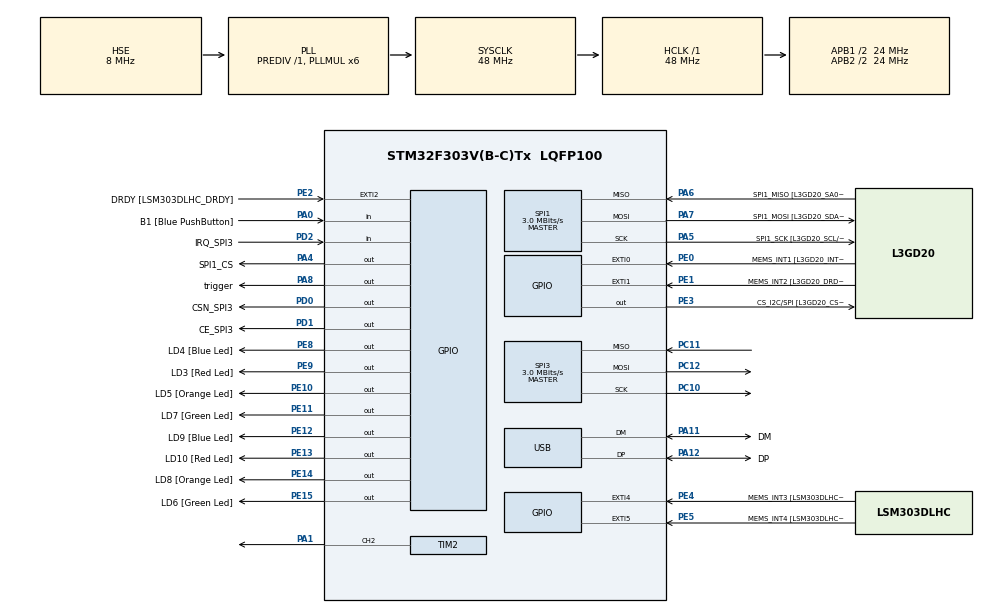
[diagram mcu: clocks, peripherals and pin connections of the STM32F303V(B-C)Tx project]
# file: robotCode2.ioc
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Mcu.Family=STM32F3
Mcu.Name=STM32F303V(B-C)Tx
Mcu.Package=LQFP100
NVIC.PriorityGroup=NVIC_PRIORITYGROUP_0
NVIC.TIM1_UP_TIM16_IRQn=true\:0\:0\:false\:false\:true
NVIC.USB_LP_CAN_RX0_IRQn=true\:0\:0\:false\:false\:true
PA0.GPIO_Label=B1 [Blue PushButton]
PA0.GPIO_Mode=GPIO_MODE_INPUT
PA0.GPIO_PuPd=GPIO_NOPULL
PA0.Signal=GPIO_Input
PA1.Signal=S_TIM2_CH2
PA11.GPIO_Label=DM
PA11.Mode=Device
PA11.Signal=USB_DM
PA12.GPIO_Label=DP
PA12.Mode=Device
PA12.Signal=USB_DP
PA13.GPIO_Label=SWDIO
PA13.Signal=SYS_JTMS-SWDIO
PA14.GPIO_Label=SWCLK
PA14.Signal=SYS_JTCK-SWCLK
PA4.GPIO_Label=SPI1_CS
PA4.PinState=GPIO_PIN_SET
PA4.Signal=GPIO_Output
PA5.GPIO_Label=SPI1_SCK [L3GD20_SCL/SPC]
PA5.GPIO_Mode=GPIO_MODE_AF_PP
PA5.GPIO_PuPd=GPIO_NOPULL
PA5.GPIO_Speed=GPIO_SPEED_FREQ_LOW
PA5.Mode=Full_Duplex_Master
PA5.Signal=SPI1_SCK
PA6.GPIO_Label=SPI1_MISO [L3GD20_SA0/SDO]
PA6.GPIO_Mode=GPIO_MODE_AF_PP
PA6.GPIO_PuPd=GPIO_PULLDOWN
PA6.GPIO_Speed=GPIO_SPEED_FREQ_LOW
PA6.Mode=Full_Duplex_Master
PA6.Signal=SPI1_MISO
PA7.GPIO_Label=SPI1_MOSI [L3GD20_SDA/SDI/SDO]
PA7.GPIO_Mode=GPIO_MODE_AF_PP
PA7.GPIO_PuPd=GPIO_NOPULL
PA7.GPIO_Speed=GPIO_SPEED_FREQ_LOW
PA7.Mode=Full_Duplex_Master
PA7.Signal=SPI1_MOSI
PA8.GPIO_Label=trigger
PA8.Signal=GPIO_Output
PB3.GPIO_Label=SWO
PB3.Signal=SYS_JTDO-TRACESWO
PB6.GPIO_FM6=__NULL
PB6.GPIO_Label=I2C1_SCL [LSM303DLHC_SCL]
PB6.GPIO_Mode=GPIO_MODE_AF_OD
PB6.GPIO_PuPd=GPIO_NOPULL
PB6.GPIO_Speed=GPIO_SPEED_FREQ_LOW
PB6.Signal=I2C1_SCL
PB7.GPIO_FM7=__NULL
PB7.GPIO_Label=I2C1_SDA [LSM303DLHC_SDA]
PB7.GPIO_Mode=GPIO_MODE_AF_OD
PB7.GPIO_PuPd=GPIO_NOPULL
PB7.GPIO_Speed=GPIO_SPEED_FREQ_LOW
PB7.Signal=I2C1_SDA
PC10.Mode=Full_Duplex_Master
PC10.Signal=SPI3_SCK
PC11.Mode=Full_Duplex_Master
PC11.Signal=SPI3_MISO
PC12.Mode=Full_Duplex_Master
PC12.Signal=SPI3_MOSI
PC14-OSC32_IN.GPIO_Label=OSC32_IN
PC14-OSC32_IN.Signal=RCC_OSC32_IN
PC15-OSC32_OUT.GPIO_Label=OSC32_OUT
PC15-OSC32_OUT.Signal=RCC_OSC32_OUT
PD0.GPIO_Label=CSN_SPI3
PD0.Signal=GPIO_Output
PD1.GPIO_Label=CE_SPI3
PD1.Signal=GPIO_Output
PD2.GPIO_Label=IRQ_SPI3
PD2.Signal=GPIO_Input
PE0.GPIO_Label=MEMS_INT1 [L3GD20_INT1]
PE0.GPIO_ModeDefaultEXTI=GPIO_MODE_EVT_RISING
PE0.GPIO_PuPd=GPIO_NOPULL
PE0.Signal=GPXTI0
PE1.GPIO_Label=MEMS_INT2 [L3GD20_DRDY/INT2]
PE1.GPIO_ModeDefaultEXTI=GPIO_MODE_EVT_RISING
PE1.GPIO_PuPd=GPIO_NOPULL
PE1.Signal=GPXTI1
PE10.GPIO_Label=LD5 [Orange Led]
PE10.GPIO_ModeDefaultOutputPP=GPIO_MODE_OUTPUT_PP
PE10.GPIO_PuPd=GPIO_NOPULL
PE10.GPIO_Speed=GPIO_SPEED_FREQ_LOW
PE10.Signal=GPIO_Output
PE11.GPIO_Label=LD7 [Green Led]
PE11.GPIO_ModeDefaultOutputPP=GPIO_MODE_OUTPUT_PP
PE11.GPIO_PuPd=GPIO_NOPULL
PE11.GPIO_Speed=GPIO_SPEED_FREQ_LOW
PE11.Signal=GPIO_Output
PE12.GPIO_Label=LD9 [Blue Led]
PE12.GPIO_ModeDefaultOutputPP=GPIO_MODE_OUTPUT_PP
PE12.GPIO_PuPd=GPIO_NOPULL
PE12.GPIO_Speed=GPIO_SPEED_FREQ_LOW
PE12.Signal=GPIO_Output
PE13.GPIO_Label=LD10 [Red Led]
PE13.GPIO_ModeDefaultOutputPP=GPIO_MODE_OUTPUT_PP
PE13.GPIO_PuPd=GPIO_NOPULL
PE13.GPIO_Speed=GPIO_SPEED_FREQ_LOW
PE13.Signal=GPIO_Output
PE14.GPIO_Label=LD8 [Orange Led]
PE14.GPIO_ModeDefaultOutputPP=GPIO_MODE_OUTPUT_PP
PE14.GPIO_PuPd=GPIO_NOPULL
PE14.GPIO_Speed=GPIO_SPEED_FREQ_LOW
PE14.Signal=GPIO_Output
PE15.GPIO_Label=LD6 [Green Led]
PE15.GPIO_ModeDefaultOutputPP=GPIO_MODE_OUTPUT_PP
PE15.GPIO_PuPd=GPIO_NOPULL
PE15.GPIO_Speed=GPIO_SPEED_FREQ_LOW
PE15.Signal=GPIO_Output
PE2.GPIO_Label=DRDY [LSM303DLHC_DRDY]
PE2.GPIO_ModeDefaultEXTI=GPIO_MODE_EVT_RISING
PE2.GPIO_PuPd=GPIO_NOPULL
PE2.Signal=GPXTI2
PE3.GPIO_Label=CS_I2C/SPI [L3GD20_CS_I2C/SPI]
PE3.GPIO_ModeDefaultOutputPP=GPIO_MODE_OUTPUT_PP
PE3.GPIO_PuPd=GPIO_NOPULL
PE3.GPIO_Speed=GPIO_SPEED_FREQ_LOW
PE3.Signal=GPIO_Output
PE4.GPIO_Label=MEMS_INT3 [LSM303DLHC_INT1]
PE4.GPIO_ModeDefaultEXTI=GPIO_MODE_EVT_RISING
PE4.GPIO_PuPd=GPIO_NOPULL
PE4.Signal=GPXTI4
PE5.GPIO_Label=MEMS_INT4 [LSM303DLHC_INT2]
PE5.GPIO_ModeDefaultEXTI=GPIO_MODE_EVT_RISING
PE5.GPIO_PuPd=GPIO_NOPULL
PE5.Signal=GPXTI5
PE8.GPIO_Label=LD4 [Blue Led]
PE8.GPIO_ModeDefaultOutputPP=GPIO_MODE_OUTPUT_PP
PE8.GPIO_PuPd=GPIO_NOPULL
PE8.GPIO_Speed=GPIO_SPEED_FREQ_LOW
PE8.Signal=GPIO_Output
PE9.GPIO_Label=LD3 [Red Led]
PE9.GPIO_ModeDefaultOutputPP=GPIO_MODE_OUTPUT_PP
PE9.GPIO_PuPd=GPIO_NOPULL
PE9.GPIO_Speed=GPIO_SPEED_FREQ_LOW
PE9.Signal=GPIO_Output
PF0-OSC_IN.GPIO_Label=OSC_IN
PF0-OSC_IN.Mode=HSE-External-Clock-Source
PF0-OSC_IN.Signal=RCC_OSC_IN
PF1-OSC_OUT.GPIO_Label=OSC_OUT
PF1-OSC_OUT.Signal=RCC_OSC_OUT
ProjectManager.HeapSize=0x200
ProjectManager.StackSize=0x400
ProjectManager.TargetToolchain=SW4STM32
RCC.AHBFreq_Value=48000000
RCC.APB1CLKDivider=RCC_HCLK_DIV2
RCC.APB1Freq_Value=24000000
RCC.APB1TimFreq_Value=48000000
RCC.APB2CLKDivider=RCC_HCLK_DIV2
RCC.APB2Freq_Value=24000000
RCC.APB2TimFreq_Value=48000000
RCC.CortexFreq_Value=48000000
RCC.HCLKFreq_Value=48000000
RCC.HSE_VALUE=8000000
RCC.HSIState=RCC_HSI_ON
RCC.HSI_VALUE=8000000
RCC.LSE_VALUE=32768
RCC.PLLMUL=RCC_PLL_MUL6
RCC.SYSCLKFreq_VALUE=48000000
RCC.SYSCLKSourceVirtual=RCC_SYSCLKSOURCE_PLLCLK
RCC.USBFreq_Value=48000000
SH.S_TIM2_CH2.0=TIM2_CH2,PWM Generation2 CH2
SPI1.BaudRatePrescaler=SPI_BAUDRATEPRESCALER_8
SPI1.CalculateBaudRate=3.0 MBits/s
SPI1.DataSize=SPI_DATASIZE_8BIT
SPI1.Mode=SPI_MODE_MASTER
SPI3.BaudRatePrescaler=SPI_BAUDRATEPRESCALER_8
SPI3.CalculateBaudRate=3.0 MBits/s
SPI3.DataSize=SPI_DATASIZE_8BIT
SPI3.Mode=SPI_MODE_MASTER
TIM1.CounterMode=TIM_COUNTERMODE_UP
TIM1.Period=400
TIM1.Prescaler=100
TIM2.Channel-PWM\ Generation2\ CH2=TIM_CHANNEL_2
TIM2.OCMode_PWM-PWM\ Generation2\ CH2=TIM_OCMODE_PWM2
TIM2.Period=1000
TIM2.Prescaler=48
USB_DEVICE.CLASS_NAME_FS=CDC
USB_DEVICE.USBD_HandleTypeDef=hUsbDeviceFS
USB_DEVICE.VirtualMode=Cdc
USB_DEVICE.VirtualModeFS=Cdc_FS
VP_TIM1_VS_ClockSourceINT.Mode=Internal
VP_TIM2_VS_ClockSourceINT.Mode=Internal
VP_USB_DEVICE_VS_USB_DEVICE_CDC_FS.Mode=CDC_FS
board=STM32F3DISCOVERY

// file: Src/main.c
/**
  ******************************************************************************
  * File Name          : main.c
  * Description        : Main program body
  ******************************************************************************
  *
  * Copyright (c) 2017 STMicroelectronics International N.V.
  * All rights reserved.
  *
  * Redistribution and use in source and binary forms, with or without
  * modification, are permitted, provided that the following conditions are met:
  *
  * 1. Redistribution of source code must retain the above copyright notice,
  *    this list of conditions and the following disclaimer.
  * 2. Redistributions in binary form must reproduce the above copyright notice,
  *    this list of conditions and the following disclaimer in the documentation
  *    and/or other materials provided with the distribution.
  * 3. Neither the name of STMicroelectronics nor the names of other
  *    contributors to this software may be used to endorse or promote products
  *    derived from this software without specific written permission.
  * 4. This software, including modifications and/or derivative works of this
  *    software, must execute solely and exclusively on microcontroller or
  *    microprocessor devices manufactured by or for STMicroelectronics.
  * 5. Redistribution and use of this software other than as permitted under
  *    this license is void and will automatically terminate your rights under
  *    this license.
  *
  * THIS SOFTWARE IS PROVIDED BY STMICROELECTRONICS AND CONTRIBUTORS "AS IS"
  * AND ANY EXPRESS, IMPLIED OR STATUTORY WARRANTIES, INCLUDING, BUT NOT
  * LIMITED TO, THE IMPLIED WARRANTIES OF MERCHANTABILITY, FITNESS FOR A
  * PARTICULAR PURPOSE AND NON-INFRINGEMENT OF THIRD PARTY INTELLECTUAL PROPERTY
  * RIGHTS ARE DISCLAIMED TO THE FULLEST EXTENT PERMITTED BY LAW. IN NO EVENT
  * SHALL STMICROELECTRONICS OR CONTRIBUTORS BE LIABLE FOR ANY DIRECT, INDIRECT,
  * INCIDENTAL, SPECIAL, EXEMPLARY, OR CONSEQUENTIAL DAMAGES (INCLUDING, BUT NOT
  * LIMITED TO, PROCUREMENT OF SUBSTITUTE GOODS OR SERVICES; LOSS OF USE, DATA,
  * OR PROFITS; OR BUSINESS INTERRUPTION) HOWEVER CAUSED AND ON ANY THEORY OF
  * LIABILITY, WHETHER IN CONTRACT, STRICT LIABILITY, OR TORT (INCLUDING
  * NEGLIGENCE OR OTHERWISE) ARISING IN ANY WAY OUT OF THE USE OF THIS SOFTWARE,
  * EVEN IF ADVISED OF THE POSSIBILITY OF SUCH DAMAGE.
  *
  ******************************************************************************
  */
#include "main.h"
#include "stm32f3xx_hal.h"
#include "spi.h"
#include "tim.h"
#include "usb_device.h"
#include "gpio.h"

/* USER CODE BEGIN Includes */
#include "TextOut.h"
#include "string.h"
#include "commsfpga.h"
#include "speedcalc.h"

/* USER CODE END Includes */

/* USER CODE BEGIN PV */
/* Private variables ---------------------------------------------------------*/

/* USER CODE END PV */

void SystemClock_Config(void);
void Error_Handler(void);

/* USER CODE BEGIN PFP */
/* Private function prototypes -----------------------------------------------*/
void shoot(uint8_t intensity, SPI_HandleTypeDef* spiHandle, uint8_t freqChannel, uint8_t address);
/* USER CODE END PFP */

int main(void)
{

  /* USER CODE BEGIN 1 */
//
  /* USER CODE END 1 */

  /* MCU Configuration----------------------------------------------------------*/

  /* Reset of all peripherals, Initializes the Flash interface and the Systick. */
  HAL_Init();

  /* Configure the system clock */
  SystemClock_Config();

  /* Initialize all configured peripherals */
  MX_GPIO_Init();
  MX_USB_DEVICE_Init();
  MX_SPI3_Init();
  MX_SPI1_Init();
  MX_TIM1_Init();
  MX_TIM2_Init();

  /* USER CODE BEGIN 2 */
  //rik nieuwe code
  TIM_OC_InitTypeDef dribbler;
  int kickprev=0;

  dribbler.OCMode = TIM_OCMODE_PWM2;
  dribbler.Pulse = 0;
  dribbler.OCPolarity = TIM_OCPOLARITY_HIGH;
  dribbler.OCFastMode = TIM_OCFAST_DISABLE;

  uint8_t showPacket = 0;
  uint8_t showCalculation = 0;
  uint8_t showFPGAdebug = 0;
  uint8_t comFailSecurity = 1;
  //HAL_Delay(1000);
  if (HAL_TIM_PWM_ConfigChannel(&htim2, &dribbler, TIM_CHANNEL_2) != HAL_OK){
		 Error_Handler();
  }

  HAL_TIM_PWM_Start(&htim2,TIM_CHANNEL_2);
  /*while(!HAL_GPIO_ReadPin(GPIOA, GPIO_PIN_0)){
	  HAL_Delay(1);
  }*/
  fun();

  int intToMotor = 0;

  int loopcntr = 0;

  wheelVelocityPacket wheely;
  wheely.enablesWheels = 0xFF;
  wheely.velocityWheel1 = 000;
  wheely.velocityWheel2 = 000;
  wheely.velocityWheel3 = 000;
  wheely.velocityWheel4 = 000;

  wheelVelocityPacket backWheely;

  float prevWheelCommand[4];

  uint8_t address = 3;

  uint8_t freqChannel =  0x2A;
  nssHigh(&hspi3);
  HAL_Delay(100);
  initRobo(&hspi3, freqChannel, address);
  HAL_Delay(100);
  printAllRegisters(&hspi3);
  /* USER CODE END 2 */

  /* Infinite loop */
  /* USER CODE BEGIN WHILE */
  int negative = 0;

  uint8_t stopSending = 0;
  int breakCnt = 0;
  dataPacket dataStruct;

  while (1)
  {
	  //Check the blue buttom (for debugging purposes)
	  if(HAL_GPIO_ReadPin(GPIOA, GPIO_PIN_0)){
		  //print all the registers of the NRF24 chip
		  printAllRegisters(&hspi3);

		  //bling LED's
		  fun();
	  }

	  //check for interrupts of the NRF24 chip (messanges from the base station)
	  if(irqRead(&hspi3)){
		  //if the robot does not get a packet for a long time, it should stop for safety reasons. This line resets that counter
		  breakCnt = 0;

		  //read the message and put it in a struct
		  roboCallback(&hspi3, &dataStruct);

		  //if there is a shoot command, shoot
		  //kickprev!=dataStruct.kickForce prevents the robot from shooting twice in a row.
		  //Shooting for a longer time is problematic, because it will short the battery over the solenoid.
		  if (dataStruct.kickForce != 0 && kickprev!=dataStruct.kickForce){
			  shoot(dataStruct.kickForce, &hspi3, freqChannel, address);
		  }

		  kickprev = dataStruct.kickForce;

		  //give the dribbler the right speed using pwm
		  dribbler.Pulse=125*dataStruct.driblerSpeed;

		  if (HAL_TIM_PWM_ConfigChannel(&htim2, &dribbler, TIM_CHANNEL_2) != HAL_OK){
				 Error_Handler();
		  }

		  HAL_TIM_PWM_Start(&htim2,TIM_CHANNEL_2);

		  //print the packet to the screen if that debug option is selected
		  if(showPacket){
			  printDataStruct(&dataStruct);
		  }

		  //calculate the speed of the individual motors using the commands from the base station and put it in a struct
		  calcMotorSpeed(&dataStruct, &wheely, &prevWheelCommand);

		  //print the calculated motor speeds to the screen if that debug option is selected
		  if(showCalculation){
			  sprintf(smallStrBuffer, "wheely: %i   %i   %i   %i\n", wheely.velocityWheel1, wheely.velocityWheel2, wheely.velocityWheel3, wheely.velocityWheel4);
			  TextOut(smallStrBuffer);
		  }
	  }

	  HAL_Delay(1);

	//if the robot did not get messanges for a long time, break unless the debug option that disables this option is selected
	if(breakCnt >= 250 && comFailSecurity == 1){
		wheely.velocityWheel1 = 0;
		wheely.velocityWheel2 = 0;
		wheely.velocityWheel3 = 0;
		wheely.velocityWheel4 = 0;
		initRobo(&hspi3, 0x2A, address);
		breakCnt = 0;
	}

	breakCnt++;

	//if the robot gets a message over USB (done for debugging purposes)
	if(usbLength != 0){

		//for every element in the USB-buffer (most often there is just one element)
		for(int i = 0; i <= usbLength; i++){

			//if the element is a number, interpretend it as a number.
			if(usbData[i] >= 48 && usbData[i] <= 57){
				sprintf(smallStrBuffer, "%i", usbData[i]-48);
				TextOut(smallStrBuffer);
				intToMotor = intToMotor*10;
				intToMotor += (usbData[i] - 48);
				stopSending = 1;
			}

			//if space is pressed, interpretend the number as a robot-speed and send a command to the FPGA
			else if(usbData[i] == 32){
				if(negative == 1){
					intToMotor = -intToMotor;
					negative = 0;
				}
				TextOut("\n");
				wheely.velocityWheel1 = intToMotor;
				wheely.velocityWheel2 = intToMotor;
				wheely.velocityWheel3 = -intToMotor;
				wheely.velocityWheel4 = -intToMotor;

				stopSending = 0;
				intToMotor = 0;
			}
			//if the '-' is presed, make the number negative
			else if(usbData[i] == 45){
				negative = 1;
			}
			//if 's' is pressed, interpreted the number as a kicking-intensity, and send a command to the kicking-module
			else if(usbData[i] == 's'){

				shoot(intToMotor, &hspi3, freqChannel, address);

				stopSending = 0;
				intToMotor = 0;

			}
			//if 'd' is pressed, interpreted the number as a dribler-intensity, and put the dribbler on
			else if(usbData[i] == 'd'){
				dribbler.Pulse=125*intToMotor;
				stopSending = 0;
				intToMotor = 0;

				sprintf(smallStrBuffer, "dribler pulse = %i", dribbler.Pulse);
				TextOut(smallStrBuffer);
				if (HAL_TIM_PWM_ConfigChannel(&htim2, &dribbler, TIM_CHANNEL_2) != HAL_OK){
					Error_Handler();
				 }

				 HAL_TIM_PWM_Start(&htim2,TIM_CHANNEL_2);
			}
			//if 'i' is pressed, interpretend the number as the robot id, and send a message the the NRF24 chip to change the id.
			else if(usbData[i] == 'i'){
				if(intToMotor >= 0 && intToMotor <= 9){
					address = intToMotor;
					initRobo(&hspi3, freqChannel, address);
					sprintf(smallStrBuffer, "address = %i\n", intToMotor);
					TextOut(smallStrBuffer);
				}
				else{
					TextOut("error: id should be between 0 and 9");
				}
			}
			//if 'p' is pressed, enable a debug option so that all messanges of the NRF24 module will be printed
			else if(usbData[i] == 'p'){
				if(showPacket == 0){
					showPacket = 1;
					TextOut("showPacket enabled\n");
				}
				else{
					showPacket = 0;
					TextOut("showPacket disabled\n");
				}
			}
			//if 'p' is pressed, enable a debug option so that all calculated motor speed will be printed
			else if(usbData[i] == 'c'){
				if(showCalculation == 0){
					showCalculation = 1;
					TextOut("showCalculation enabled\n");
				}
				else{
					showCalculation = 0;
					TextOut("showCalculation disabled\n");
				}
			}
			//if 'f' is pressed, enable a debug option so that all commands send to the FPGA, and all speeds of the wheels the FPGA send back will be printed
			else if(usbData[i] == 'f'){
				if(showFPGAdebug == 0){
					showFPGAdebug = 1;
					TextOut("showFPGAdebug enabled\n");
				}
				else{
					showFPGAdebug = 0;
					TextOut("showFPGAdebug disabled\n");
				}
			}
			//if 'b' is pressed, disable the security that lets the robot stop if it gets no messanges.
			//This is usefull when controlling the robot over USB.
			else if(usbData[i] == 'b'){
				if(comFailSecurity == 0){
					comFailSecurity = 1;
					TextOut("comFailSecurity enabled\n");
				}
				else{
					comFailSecurity = 0;
					TextOut("comFailSecurity disabled\n");
				}
			}
			//if 'r' is pressed, print all registers of the NRF24 chip
			else if(usbData[i] == 'r'){
				//initRobo(&hspi3, freqChannel, address);
				printAllRegisters(&hspi3);
			}
			//in all other cases, throw away the number
			else if(usbData[i] != 0){
				TextOut("no number send\n");

				stopSending = 0;
				intToMotor = 0;
			}
		}
		usbLength = 0;

	}

	//once in a while (loopcntr == 1 means every time, but this can be increased)
	if(loopcntr == 1){
		//send the wheelcommands to the FPGA
		sendReceivePacket(&hspi1, &wheely, &backWheely);
		if(showFPGAdebug){
			uint8_t regTest;
			sprintf(smallStrBuffer, "wheely: %i, %i, %i, %i,", wheely.velocityWheel1, wheely.velocityWheel2, wheely.velocityWheel3, wheely.velocityWheel4);
			TextOut(smallStrBuffer);
			sprintf(smallStrBuffer, "%i, %i, %i, %i, %x\n", backWheely.velocityWheel1, backWheely.velocityWheel2, backWheely.velocityWheel3, backWheely.velocityWheel4, backWheely.enablesWheels);
			TextOut(smallStrBuffer);
		}

		loopcntr = 0;
	}

	if(!stopSending){
		loopcntr++;
	}

  /* USER CODE END WHILE */

  }

}

/** System Clock Configuration
*/
void SystemClock_Config(void)
{

  RCC_OscInitTypeDef RCC_OscInitStruct;
  RCC_ClkInitTypeDef RCC_ClkInitStruct;
  RCC_PeriphCLKInitTypeDef PeriphClkInit;

    /**Initializes the CPU, AHB and APB busses clocks
    */
  RCC_OscInitStruct.OscillatorType = RCC_OSCILLATORTYPE_HSE;
  RCC_OscInitStruct.HSEState = RCC_HSE_BYPASS;
  RCC_OscInitStruct.HSEPredivValue = RCC_HSE_PREDIV_DIV1;
  RCC_OscInitStruct.HSIState = RCC_HSI_ON;
  RCC_OscInitStruct.PLL.PLLState = RCC_PLL_ON;
  RCC_OscInitStruct.PLL.PLLSource = RCC_PLLSOURCE_HSE;
  RCC_OscInitStruct.PLL.PLLMUL = RCC_PLL_MUL6;
  if (HAL_RCC_OscConfig(&RCC_OscInitStruct) != HAL_OK)
  {
    Error_Handler();
  }

    /**Initializes the CPU, AHB and APB busses clocks
    */
  RCC_ClkInitStruct.ClockType = RCC_CLOCKTYPE_HCLK|RCC_CLOCKTYPE_SYSCLK
                              |RCC_CLOCKTYPE_PCLK1|RCC_CLOCKTYPE_PCLK2;
  RCC_ClkInitStruct.SYSCLKSource = RCC_SYSCLKSOURCE_PLLCLK;
  RCC_ClkInitStruct.AHBCLKDivider = RCC_SYSCLK_DIV1;
  RCC_ClkInitStruct.APB1CLKDivider = RCC_HCLK_DIV2;
  RCC_ClkInitStruct.APB2CLKDivider = RCC_HCLK_DIV2;

  if (HAL_RCC_ClockConfig(&RCC_ClkInitStruct, FLASH_LATENCY_1) != HAL_OK)
  {
    Error_Handler();
  }

  PeriphClkInit.PeriphClockSelection = RCC_PERIPHCLK_USB|RCC_PERIPHCLK_TIM1;
  PeriphClkInit.USBClockSelection = RCC_USBCLKSOURCE_PLL;
  PeriphClkInit.Tim1ClockSelection = RCC_TIM1CLK_HCLK;
  if (HAL_RCCEx_PeriphCLKConfig(&PeriphClkInit) != HAL_OK)
  {
    Error_Handler();
  }

    /**Configure the Systick interrupt time
    */
  HAL_SYSTICK_Config(HAL_RCC_GetHCLKFreq()/1000);

    /**Configure the Systick
    */
  HAL_SYSTICK_CLKSourceConfig(SYSTICK_CLKSOURCE_HCLK);

  /* SysTick_IRQn interrupt configuration */
  HAL_NVIC_SetPriority(SysTick_IRQn, 0, 0);
}

/* USER CODE BEGIN 4 */

void shoot(uint8_t intensity, SPI_HandleTypeDef* spiHandle, uint8_t freqChannel, uint8_t address){
	sprintf(smallStrBuffer, "intensity = %i\n", intensity);
	TextOut(intensity);
	int period = 1000 + intensity*15;

	htim1.Init.Period = period;

	HAL_TIM_Base_Init(&htim1);

	HAL_GPIO_WritePin(trigger_GPIO_Port, trigger_Pin,GPIO_PIN_SET);
	HAL_TIM_Base_Start_IT(&htim1);

	//wheely.velocityWheel1 = intToMotor;
	//wheely.velocityWheel2 = intToMotor;
	//wheely.velocityWheel3 = -intToMotor;
	//wheely.velocityWheel4 = -intToMotor;
	//HAL_Delay(100);
	//initRobo(spiHandle, freqChannel, address);
	//HAL_Delay(100);
}

/* USER CODE END 4 */

void Error_Handler(void)
{
  while(1)
  {
  }
}

/************************ (C) COPYRIGHT STMicroelectronics *****END OF FILE****/
